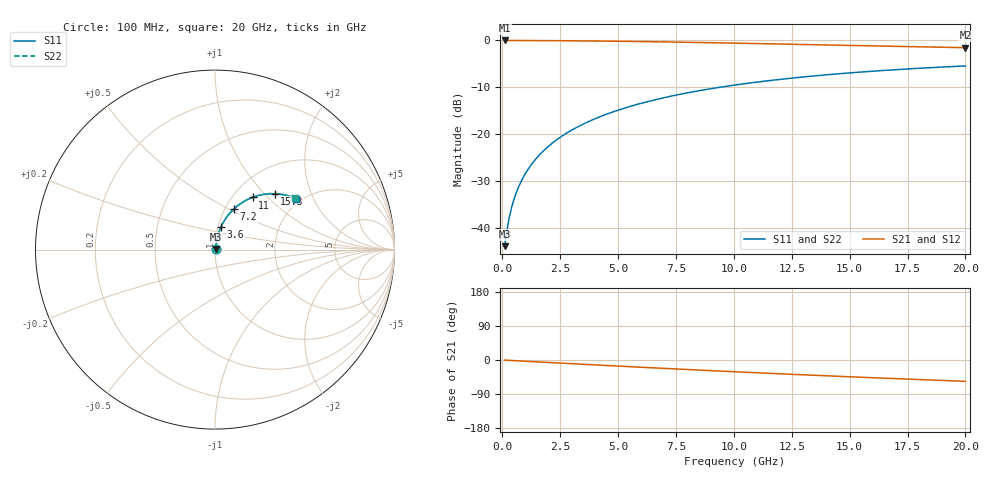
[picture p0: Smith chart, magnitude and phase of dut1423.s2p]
! Touchstone file exported from HFSS 2026.1.0
!  File:  C:/ffzhzh/LocalFiles/Ansys_Project_Files/temp_train_BSMRDL_1423_1783180244_22436.aedt
!  Generated:  11:52:11 PM Jul  4, 2026
!  Design:  BSMRDL
!  Project:  temp_train_BSMRDL_1423_1783180244_22436
! Variables:
!  h_bsmrdl = 3.29um
!  h_ox = 20um
!  h_rdl = 5um
!  h_sub = 80um
!  h_tmrdl = 5um
!  h_tsv = 80um
!  h_via = 3um
!  l_bsmrdl = 834.25um
!  l_sub = 1234.25um
!  l_tmrdl = 200um
!  m_sub = 200um
!  pitch = 51.56um
!  r_tsv = 6um
!  s_tmrdl = 10um
!  w_bsmrdl = 18.44um
!  w_sub = 500um
!  w_tmrdl = 12um
!  x_tsv_center1 = 206um
!  x_tsv_center2 = 1058.69um
!  x_tsv_center3 = 1270.69um
!  x_tsv_center4 = 2123.38um
!  x_tsv_center5 = 2335.38um
!  x_tsv_center6 = 3188.07um
# GHz S MA R 50.000000
! Terminal data exported
! Port[1] = BSM_RDL1_1_T1
! Port[2] = BSM_RDL1_1_T2
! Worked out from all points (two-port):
!   200 points, 100 MHz to 20 GHz, reference 50 ohm
!   highest |S21| = -0.04 dB at 100 MHz (marker M1); lowest = -1.6 dB at 20 GHz (marker M2)
!   |S21| within 3 dB of the highest: start of sweep to end of sweep
!   lowest |S11| = -43.9 dB at 100 MHz (marker M3), VSWR 1.01, Z = 50.5 + j0.398 ohm
!   |S11| at or under -10 dB: start of sweep to 9.43 GHz
!   |S22| runs from -43.9 to -5.5 dB; largest |S21 - S12| = 3.3e-15
!   S11 on the Smith chart (normalised r, x): 100 MHz: 1.01, +0.01; 3.6 GHz: 1.03, +0.27; 7.2 GHz: 1.10, +0.53; 11 GHz: 1.23, +0.82; 15.3 GHz: 1.46, +1.14; 20 GHz: 1.87, +1.48
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0.1  0.006371 38.2  0.995 -0.3  0.995 -0.3  0.006371 38.2
! Gamma 0 0 0 0
! Port Impedance 50 0 50 0
0.2  0.009401 56.3  0.9948 -0.7  0.9948 -0.7  0.0094 56.3
0.3  0.01285 64.6  0.9946 -1.0  0.9946 -1.0  0.01285 64.6
0.4  0.01639 69.1  0.9944 -1.3  0.9944 -1.3  0.01639 69.1
0.5  0.01997 71.9  0.9942 -1.7  0.9942 -1.7  0.01997 71.9
0.6  0.02355 73.8  0.994 -2.0  0.994 -2.0  0.02355 73.9
0.8  0.03074 76.2  0.9936 -2.6  0.9936 -2.6  0.03074 76.2
1.1  0.04158 77.9  0.993 -3.6  0.993 -3.6  0.04158 77.9
1.6  0.05972 78.6  0.9919 -5.2  0.9919 -5.2  0.05972 78.7
2.1  0.07785 78.3  0.9904 -6.9  0.9904 -6.9  0.07785 78.3
2.7  0.09946 77.2  0.9882 -8.8  0.9882 -8.8  0.09945 77.3
3.5  0.1279 75.3  0.9845 -11.3  0.9845 -11.3  0.1279 75.4
3.6  0.1314 75.1  0.984 -11.7  0.984 -11.7  0.1314 75.2
5  0.1796 71.2  0.9755 -16.1  0.9755 -16.1  0.1796 71.3
6.8  0.2383 66.0  0.9617 -21.6  0.9617 -21.6  0.2383 66.2
7.2  0.2508 64.9  0.9583 -22.8  0.9583 -22.8  0.2508 65.0
10.1  0.3345 56.7  0.9309 -31.2  0.9309 -31.2  0.3345 56.9
11  0.358 54.3  0.9218 -33.7  0.9218 -33.7  0.358 54.5
13.4  0.4151 47.9  0.8971 -40.2  0.8971 -40.2  0.4151 48.2
15.3  0.4546 43.2  0.8776 -45.1  0.8776 -45.1  0.4546 43.5
16.7  0.4806 39.8  0.8636 -48.5  0.8636 -48.5  0.4806 40.1
20  0.5323 32.2  0.8331 -56.2  0.8331 -56.2  0.5322 32.6
